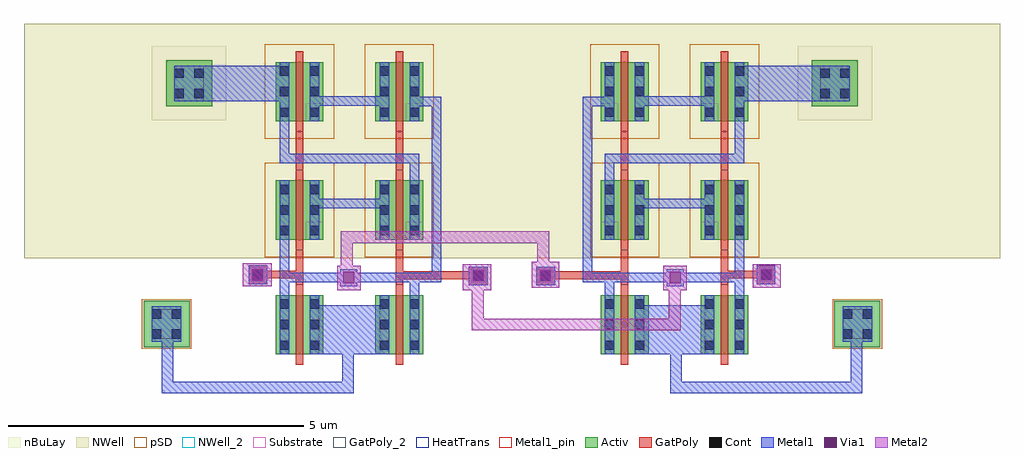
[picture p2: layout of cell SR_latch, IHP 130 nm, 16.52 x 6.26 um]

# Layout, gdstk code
from math import pi, radians
import gdstk
lib = gdstk.Library(unit=1e-6, precision=1e-09)
def R(c, l, rs):  # rectangles x0, y0, x1, y1
    for r in rs: c.add(gdstk.rectangle(r[:2], r[2:], *l))
def A(c, l, x, y, w, h, nx, ny, dx, dy):  # array of equal rectangles
    R(c, l, [(x+i*dx, y+j*dy, x+i*dx+w, y+j*dy+h) for i in range(nx) for j in range(ny)])
def P(c, l, *ps):  # polygons
    for p in ps: c.add(gdstk.Polygon(p, *l))
Activ = (1, 0)
GatPoly = (5, 0)
GatPoly_2 = (5, 2)
Cont = (6, 0)
Metal1 = (8, 0)
Metal1_pin = (8, 2)
Metal2 = (10, 0)
pSD = (14, 0)
Via1 = (19, 0)
NWell = (31, 0)
NWell_2 = (31, 2)
nBuLay = (32, 0)
Substrate = (40, 0)
HeatTrans = (51, 0)

nmos_2_2 = lib.new_cell('nmos$2$2')
R(nmos_2_2, Activ, [(0,0,0.3,0.3), (0,0,0.81,1), (0.51,0,0.81,0.3)])
R(nmos_2_2, GatPoly, [(0.34,-0.18,0.47,1.18)])
R(nmos_2_2, GatPoly_2, [(0.34,-0.18,0.47,1.18)])
A(nmos_2_2, Cont, 0.07, 0.07, 0.16, 0.16, 1, 3, 0, 0.35)
A(nmos_2_2, Cont, 0.58, 0.07, 0.16, 0.16, 1, 3, 0, 0.35)
R(nmos_2_2, Metal1, [(0.07,0,0.23,1), (0.58,0,0.74,1)])
R(nmos_2_2, Metal1_pin, [(0.07,0,0.23,1), (0.58,0,0.74,1)])
R(nmos_2_2, HeatTrans, [(0.34,-0.18,0.47,1.18)])
nmos_2_2.add(gdstk.Label('nmos', (0.405,0.5), layer=63, texttype=0))
nmos_2_2.add(gdstk.Label('nmos', (0.405,0.5), layer=51, texttype=0))

pmos_1_2_2 = lib.new_cell('pmos$1$2$2')
R(pmos_1_2_2, Activ, [(0,0,0.3,0.3), (0,0,0.81,1), (0.51,0,0.81,0.3)])
R(pmos_1_2_2, GatPoly, [(0.34,-0.18,0.47,1.18), (0.34,-0.18,0.47,1.18)])
A(pmos_1_2_2, Cont, 0.07, 0.07, 0.16, 0.16, 1, 3, 0, 0.35)
A(pmos_1_2_2, Cont, 0.58, 0.07, 0.16, 0.16, 1, 3, 0, 0.35)
R(pmos_1_2_2, Metal1, [(0.07,0,0.23,1), (0.07,0,0.23,1), (0.58,0,0.74,1), (0.58,0,0.74,1)])
R(pmos_1_2_2, pSD, [(-0.18,-0.3,0.99,1.3)])
R(pmos_1_2_2, NWell, [(-0.31,-0.31,1.12,1.31)])
R(pmos_1_2_2, Substrate, [(0.51,0,0.81,0.3)])
R(pmos_1_2_2, HeatTrans, [(0.34,-0.18,0.47,1.18)])
pmos_1_2_2.add(gdstk.Label('pmos', (0.405,0.5), layer=63, texttype=0))
pmos_1_2_2.add(gdstk.Label('pmos', (0.405,0.5), layer=51, texttype=0))

ntap1_1_2_2 = lib.new_cell('ntap1$1$2$2')
R(ntap1_1_2_2, Activ, [(0,0,0.78,0.78)])
R(ntap1_1_2_2, Cont, [(0.14,0.14,0.3,0.3), (0.48,0.14,0.64,0.3), (0.14,0.48,0.3,0.64), (0.48,0.48,0.64,0.64)])
R(ntap1_1_2_2, Metal1, [(0.14,0.09,0.64,0.69)])
R(ntap1_1_2_2, Metal1_pin, [(0.14,0.09,0.64,0.69), (0.14,0.14,0.64,0.64)])
R(ntap1_1_2_2, NWell, [(-0.24,-0.24,1.02,1.02), (0,0,0.78,0.78)])
R(ntap1_1_2_2, NWell_2, [(0,0,0.78,0.78)])
R(ntap1_1_2_2, nBuLay, [(-0.24,-0.24,1.02,1.02)])

ptap1_1_2_2 = lib.new_cell('ptap1$1$2$2')
R(ptap1_1_2_2, Activ, [(0,0,0.78,0.78)])
R(ptap1_1_2_2, Cont, [(0.14,0.14,0.3,0.3), (0.48,0.14,0.64,0.3), (0.14,0.48,0.3,0.64), (0.48,0.48,0.64,0.64)])
R(ptap1_1_2_2, Metal1, [(0.14,0.09,0.64,0.69), (0.14,0.14,0.64,0.64)])
R(ptap1_1_2_2, Metal1_pin, [(0.14,0.14,0.64,0.64)])
R(ptap1_1_2_2, pSD, [(-0.03,-0.03,0.81,0.81)])
R(ptap1_1_2_2, Substrate, [(0,0,0.78,0.78)])

via_stack_1_2_2 = lib.new_cell('via_stack$1$2$2')
R(via_stack_1_2_2, Metal1, [(-0.145,-0.145,0.145,0.145)])
R(via_stack_1_2_2, Metal2, [(-0.145,-0.145,0.145,0.145)])
R(via_stack_1_2_2, Via1, [(-0.095,-0.095,0.095,0.095)])

nor_gate_1_2 = lib.new_cell('NOR_gate$1$2')
P(nor_gate_1_2, GatPoly, [(0,1.16),(0,1.475),(0.31,1.475),(0.31,1.385),(0.86,1.385),(0.86,1.255),(0.31,1.255),(0.31,1.16)],
  [(3.725,1.14),(3.725,1.245),(2.55,1.245),(2.55,1.375),(3.725,1.375),(3.725,1.455),(4.05,1.455),(4.05,1.14)])
R(nor_gate_1_2, Cont, [(3.805,1.225,3.965,1.385), (0.08,1.24,0.24,1.4)])
R(nor_gate_1_2, Metal1, [(0.525,-0.025,0.685,2.06), (3.725,1.14,4.05,1.455), (0,1.16,0.31,1.475), (-0.885,4.26,0.625,4.86)])
P(nor_gate_1_2, Metal1, [(0.525,0.745),(0.525,1.355),(1.55,1.355),(1.55,1.195),(0.67,1.195),(0.67,0.745)],
  [(2.725,2),(2.725,3.21),(0.525,3.21),(0.525,4.025),(0.685,4.025),(0.685,3.37),(2.885,3.37),(2.885,2)],
  [(2.725,0.745),(2.725,1.195),(1.84,1.195),(1.84,1.355),(3.1,1.355),(3.1,4.175),(2.725,4.175),(2.725,4.335),(3.26,4.335),(3.26,1.195),(2.885,1.195),(2.885,0.745)],
  [(-1.475,-0.69),(-1.475,0.45),(-1.275,0.45),(-1.275,-0.49),(1.58,-0.49),(1.58,-0.025),(1.105,-0.025),(1.105,0.8),(2.315,0.8),(2.315,-0.025),(1.78,-0.025),(1.78,-0.69)])
R(nor_gate_1_2, Metal2, [(1.495,1.06,1.895,1.47), (1.55,1.125,1.84,1.415)])
R(nor_gate_1_2, NWell, [(-3.805,1.6,4.91,5.57)])
nor_gate_1_2.add(gdstk.FlexPath([(1.035,4.26),(2.375,4.26)], 0.16, ends="flush", simple_path=True, layer=8, datatype=0))  # Metal1
nor_gate_1_2.add(gdstk.FlexPath([(1.035,2.525),(2.375,2.525)], 0.16, ends="flush", simple_path=True, layer=8, datatype=0))  # Metal1
nor_gate_1_2.add(gdstk.FlexPath([(0.86,4.915),(0.86,-0.205)], 0.13, ends="flush", simple_path=True, layer=5, datatype=0))  # GatPoly
nor_gate_1_2.add(gdstk.FlexPath([(2.55,4.915),(2.55,-0.205)], 0.13, ends="flush", simple_path=True, layer=5, datatype=0))  # GatPoly
nor_gate_1_2.add(gdstk.Reference(nmos_2_2, (0.455,-0.025)))
nor_gate_1_2.add(gdstk.Reference(nmos_2_2, (2.145,-0.025)))
nor_gate_1_2.add(gdstk.Reference(pmos_1_2_2, (0.455,3.92)))
nor_gate_1_2.add(gdstk.Reference(pmos_1_2_2, (0.455,1.915)))
nor_gate_1_2.add(gdstk.Reference(pmos_1_2_2, (2.145,3.92)))
nor_gate_1_2.add(gdstk.Reference(pmos_1_2_2, (2.145,1.915)))
nor_gate_1_2.add(gdstk.Reference(ntap1_1_2_2, (-1.4,4.17)))
nor_gate_1_2.add(gdstk.Reference(ptap1_1_2_2, (-1.78,0.095)))
nor_gate_1_2.add(gdstk.Reference(via_stack_1_2_2, (1.695,1.27)))

nmos_2_1_1 = lib.new_cell('nmos$2$1$1')
R(nmos_2_1_1, Activ, [(0,0,0.3,0.3), (0,0,0.81,1), (0.51,0,0.81,0.3)])
R(nmos_2_1_1, GatPoly, [(0.34,-0.18,0.47,1.18)])
R(nmos_2_1_1, GatPoly_2, [(0.34,-0.18,0.47,1.18)])
A(nmos_2_1_1, Cont, 0.07, 0.07, 0.16, 0.16, 1, 3, 0, 0.35)
A(nmos_2_1_1, Cont, 0.58, 0.07, 0.16, 0.16, 1, 3, 0, 0.35)
R(nmos_2_1_1, Metal1, [(0.07,0,0.23,1), (0.58,0,0.74,1)])
R(nmos_2_1_1, Metal1_pin, [(0.07,0,0.23,1), (0.58,0,0.74,1)])
R(nmos_2_1_1, HeatTrans, [(0.34,-0.18,0.47,1.18)])
nmos_2_1_1.add(gdstk.Label('nmos', (0.405,0.5), layer=63, texttype=0))
nmos_2_1_1.add(gdstk.Label('nmos', (0.405,0.5), layer=51, texttype=0))

pmos_1_2_1_1 = lib.new_cell('pmos$1$2$1$1')
R(pmos_1_2_1_1, Activ, [(0,0,0.3,0.3), (0,0,0.81,1), (0.51,0,0.81,0.3)])
R(pmos_1_2_1_1, GatPoly, [(0.34,-0.18,0.47,1.18), (0.34,-0.18,0.47,1.18)])
A(pmos_1_2_1_1, Cont, 0.07, 0.07, 0.16, 0.16, 1, 3, 0, 0.35)
A(pmos_1_2_1_1, Cont, 0.58, 0.07, 0.16, 0.16, 1, 3, 0, 0.35)
R(pmos_1_2_1_1, Metal1, [(0.07,0,0.23,1), (0.07,0,0.23,1), (0.58,0,0.74,1), (0.58,0,0.74,1)])
R(pmos_1_2_1_1, pSD, [(-0.18,-0.3,0.99,1.3)])
R(pmos_1_2_1_1, NWell, [(-0.31,-0.31,1.12,1.31)])
R(pmos_1_2_1_1, Substrate, [(0.51,0,0.81,0.3)])
R(pmos_1_2_1_1, HeatTrans, [(0.34,-0.18,0.47,1.18)])
pmos_1_2_1_1.add(gdstk.Label('pmos', (0.405,0.5), layer=63, texttype=0))
pmos_1_2_1_1.add(gdstk.Label('pmos', (0.405,0.5), layer=51, texttype=0))

ntap1_1_2_1_1 = lib.new_cell('ntap1$1$2$1$1')
R(ntap1_1_2_1_1, Activ, [(0,0,0.78,0.78)])
R(ntap1_1_2_1_1, Cont, [(0.14,0.14,0.3,0.3), (0.48,0.14,0.64,0.3), (0.14,0.48,0.3,0.64), (0.48,0.48,0.64,0.64)])
R(ntap1_1_2_1_1, Metal1, [(0.14,0.09,0.64,0.69)])
R(ntap1_1_2_1_1, Metal1_pin, [(0.14,0.09,0.64,0.69), (0.14,0.14,0.64,0.64)])
R(ntap1_1_2_1_1, NWell, [(-0.24,-0.24,1.02,1.02), (0,0,0.78,0.78)])
R(ntap1_1_2_1_1, NWell_2, [(0,0,0.78,0.78)])
R(ntap1_1_2_1_1, nBuLay, [(-0.24,-0.24,1.02,1.02)])

ptap1_1_2_1_1 = lib.new_cell('ptap1$1$2$1$1')
R(ptap1_1_2_1_1, Activ, [(0,0,0.78,0.78)])
R(ptap1_1_2_1_1, Cont, [(0.14,0.14,0.3,0.3), (0.48,0.14,0.64,0.3), (0.14,0.48,0.3,0.64), (0.48,0.48,0.64,0.64)])
R(ptap1_1_2_1_1, Metal1, [(0.14,0.09,0.64,0.69), (0.14,0.14,0.64,0.64)])
R(ptap1_1_2_1_1, Metal1_pin, [(0.14,0.14,0.64,0.64)])
R(ptap1_1_2_1_1, pSD, [(-0.03,-0.03,0.81,0.81)])
R(ptap1_1_2_1_1, Substrate, [(0,0,0.78,0.78)])

via_stack_1_2_1_1 = lib.new_cell('via_stack$1$2$1$1')
R(via_stack_1_2_1_1, Metal1, [(-0.145,-0.145,0.145,0.145)])
R(via_stack_1_2_1_1, Metal2, [(-0.145,-0.145,0.145,0.145)])
R(via_stack_1_2_1_1, Via1, [(-0.095,-0.095,0.095,0.095)])

nor_gate_1_1_1 = lib.new_cell('NOR_gate$1$1$1')
P(nor_gate_1_1_1, GatPoly, [(0,1.16),(0,1.475),(0.31,1.475),(0.31,1.385),(0.86,1.385),(0.86,1.255),(0.31,1.255),(0.31,1.16)],
  [(3.725,1.14),(3.725,1.245),(2.55,1.245),(2.55,1.375),(3.725,1.375),(3.725,1.455),(4.05,1.455),(4.05,1.14)])
R(nor_gate_1_1_1, Cont, [(3.805,1.225,3.965,1.385), (0.08,1.24,0.24,1.4)])
R(nor_gate_1_1_1, Metal1, [(0.525,-0.025,0.685,2.06), (3.725,1.14,4.05,1.455), (0,1.16,0.31,1.475), (-0.885,4.26,0.625,4.86)])
P(nor_gate_1_1_1, Metal1, [(0.525,0.745),(0.525,1.355),(1.55,1.355),(1.55,1.195),(0.67,1.195),(0.67,0.745)],
  [(2.725,2),(2.725,3.21),(0.525,3.21),(0.525,4.025),(0.685,4.025),(0.685,3.37),(2.885,3.37),(2.885,2)],
  [(2.725,0.745),(2.725,1.195),(1.84,1.195),(1.84,1.355),(3.1,1.355),(3.1,4.175),(2.725,4.175),(2.725,4.335),(3.26,4.335),(3.26,1.195),(2.885,1.195),(2.885,0.745)],
  [(-1.475,-0.69),(-1.475,0.45),(-1.275,0.45),(-1.275,-0.49),(1.58,-0.49),(1.58,-0.025),(1.105,-0.025),(1.105,0.8),(2.315,0.8),(2.315,-0.025),(1.78,-0.025),(1.78,-0.69)])
R(nor_gate_1_1_1, Metal2, [(1.495,1.06,1.895,1.47), (1.55,1.125,1.84,1.415)])
R(nor_gate_1_1_1, NWell, [(-3.805,1.6,4.91,5.57)])
nor_gate_1_1_1.add(gdstk.FlexPath([(1.035,4.26),(2.375,4.26)], 0.16, ends="flush", simple_path=True, layer=8, datatype=0))  # Metal1
nor_gate_1_1_1.add(gdstk.FlexPath([(1.035,2.525),(2.375,2.525)], 0.16, ends="flush", simple_path=True, layer=8, datatype=0))  # Metal1
nor_gate_1_1_1.add(gdstk.FlexPath([(0.86,4.915),(0.86,-0.205)], 0.13, ends="flush", simple_path=True, layer=5, datatype=0))  # GatPoly
nor_gate_1_1_1.add(gdstk.FlexPath([(2.55,4.915),(2.55,-0.205)], 0.13, ends="flush", simple_path=True, layer=5, datatype=0))  # GatPoly
nor_gate_1_1_1.add(gdstk.Reference(nmos_2_1_1, (0.455,-0.025)))
nor_gate_1_1_1.add(gdstk.Reference(nmos_2_1_1, (2.145,-0.025)))
nor_gate_1_1_1.add(gdstk.Reference(pmos_1_2_1_1, (0.455,3.92)))
nor_gate_1_1_1.add(gdstk.Reference(pmos_1_2_1_1, (0.455,1.915)))
nor_gate_1_1_1.add(gdstk.Reference(pmos_1_2_1_1, (2.145,3.92)))
nor_gate_1_1_1.add(gdstk.Reference(pmos_1_2_1_1, (2.145,1.915)))
nor_gate_1_1_1.add(gdstk.Reference(ntap1_1_2_1_1, (-1.4,4.17)))
nor_gate_1_1_1.add(gdstk.Reference(ptap1_1_2_1_1, (-1.78,0.095)))
nor_gate_1_1_1.add(gdstk.Reference(via_stack_1_2_1_1, (1.695,1.27)))

via_stack_2_1 = lib.new_cell('via_stack$2$1')
R(via_stack_2_1, Metal1, [(-0.145,-0.145,0.145,0.145)])
R(via_stack_2_1, Metal2, [(-0.145,-0.145,0.145,0.145)])
R(via_stack_2_1, Via1, [(-0.095,-0.095,0.095,0.095)])

sr_latch = lib.new_cell('SR_latch')
R(sr_latch, Metal2, [(1.445,3.74,1.93,4.175), (6.36,3.775,6.835,4.18), (2.615,3.78,3.085,4.215), (-2.28,3.8,-1.785,4.19)])
sr_latch.add(gdstk.FlexPath([(2.81,4.135),(2.81,4.635),(-0.515,4.635),(-0.515,4.085),(-0.515,4.085)], 0.2, ends="flush", simple_path=True, layer=10, datatype=0))  # Metal2
sr_latch.add(gdstk.FlexPath([(1.7,3.68),(1.7,3.155),(5.04,3.155),(5.04,3.635)], 0.2, ends="flush", simple_path=True, layer=10, datatype=0))  # Metal2
sr_latch.add(gdstk.FlexPath([(1.7,3.535),(1.7,4.02)], 0.2, ends="flush", simple_path=True, layer=10, datatype=0))  # Metal2
sr_latch.add(gdstk.FlexPath([(5.04,3.53),(5.04,4.045)], 0.2, ends="flush", simple_path=True, layer=10, datatype=0))  # Metal2
sr_latch.add(gdstk.Reference(nor_gate_1_2, (-2.175,2.68)))
sr_latch.add(gdstk.Reference(nor_gate_1_1_1, (6.74,2.68), rotation=pi, x_reflection=True))
sr_latch.add(gdstk.Reference(via_stack_2_1, (1.71,3.98)))
sr_latch.add(gdstk.Reference(via_stack_2_1, (2.845,3.98)))
sr_latch.add(gdstk.Reference(via_stack_2_1, (-2.02,3.995)))
sr_latch.add(gdstk.Reference(via_stack_2_1, (6.585,4)))

lib.write_gds('SR_latch.gds')
